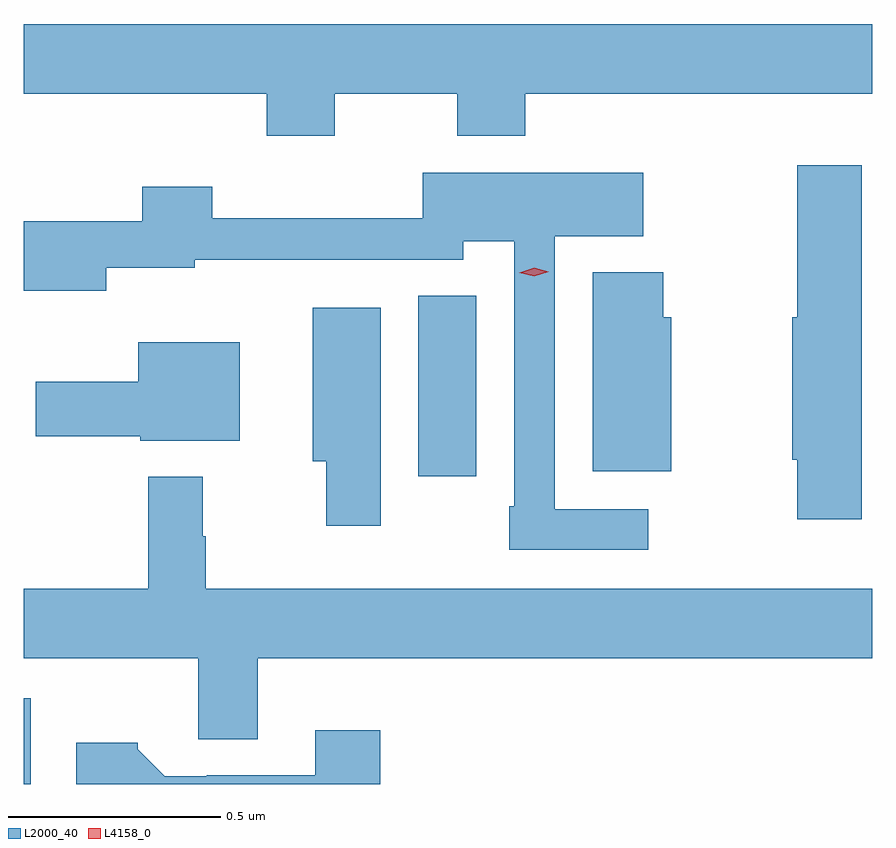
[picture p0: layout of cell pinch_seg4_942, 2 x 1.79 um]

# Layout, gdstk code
import gdstk
lib = gdstk.Library(unit=1e-6, precision=1e-09)
def R(c, l, rs):  # rectangles x0, y0, x1, y1
    for r in rs: c.add(gdstk.rectangle(r[:2], r[2:], *l))
def P(c, l, *ps):  # polygons
    for p in ps: c.add(gdstk.Polygon(p, *l))
L2000_40 = (2000, 40)
L4158_0 = (4158, 0)

pinch_seg4_942 = lib.new_cell('pinch_seg4_942')
R(pinch_seg4_942, L2000_40, [(650.378,801.852,650.394,802.054), (651.308,802.578,651.445,803.003)])
P(pinch_seg4_942, L2000_40, [(651.111,803.48),(651.4,803.48),(651.4,803.381),(651.56,803.381),(651.56,803.48),(652.378,803.48),(652.378,803.644),(650.378,803.644),(650.378,803.48),(650.951,803.48),(650.951,803.381),(651.111,803.381)],
  [(652.354,803.311),(652.201,803.311),(652.201,802.953),(652.19,802.953),(652.19,802.617),(652.201,802.617),(652.201,802.476),(652.354,802.476)],
  [(651.85,802.5),(651.63,802.5),(651.63,803.144),(651.838,803.144),(651.838,803.293),(651.318,803.293),(651.318,803.186),(650.822,803.186),(650.822,803.26),(650.657,803.26),(650.657,803.179),(650.378,803.179),(650.378,803.015),(650.572,803.015),(650.572,803.069),(650.781,803.069),(650.781,803.088),(651.414,803.088),(651.414,803.132),(651.534,803.132),(651.534,802.507),(651.522,802.507),(651.522,802.404),(651.85,802.404)],
  [(651.904,802.953),(651.886,802.953),(651.886,803.059),(651.719,803.059),(651.719,802.589),(651.904,802.589)],
  [(651.22,802.975),(651.059,802.975),(651.059,802.613),(651.091,802.613),(651.091,802.461),(651.22,802.461)],
  [(650.887,802.894),(650.648,802.894),(650.648,802.801),(650.406,802.801),(650.406,802.672),(650.652,802.672),(650.652,802.661),(650.887,802.661)],
  [(650.929,802.148),(652.378,802.148),(652.378,802.312),(650.807,802.312),(650.807,802.436),(650.8,802.436),(650.8,802.576),(650.671,802.576),(650.671,802.312),(650.378,802.312),(650.378,802.148),(650.789,802.148),(650.789,801.958),(650.929,801.958)],
  [(651.218,801.979),(651.065,801.979),(651.065,801.873),(650.809,801.873),(650.809,801.87),(650.71,801.87),(650.646,801.934),(650.646,801.949),(650.502,801.949),(650.502,801.852),(651.218,801.852)])
P(pinch_seg4_942, L4158_0, [(651.581,803.049),(651.546,803.058),(651.546,803.058),(651.546,803.058),(651.581,803.069),(651.616,803.06),(651.616,803.06),(651.616,803.06)])

lib.write_gds('pinch_seg4_942.gds')
